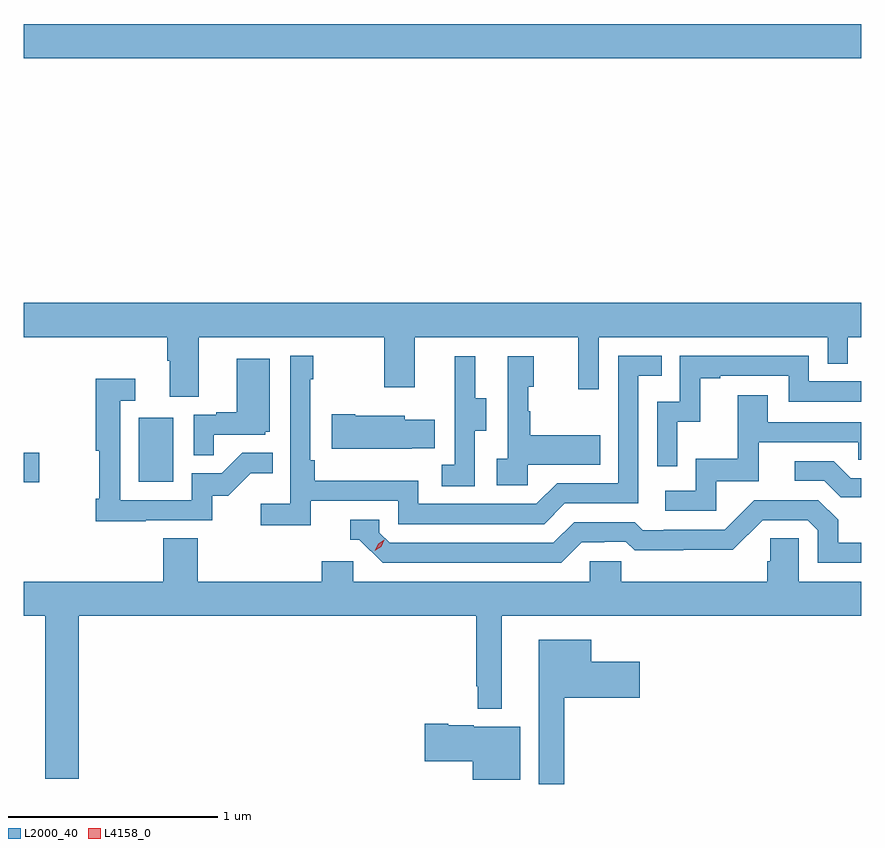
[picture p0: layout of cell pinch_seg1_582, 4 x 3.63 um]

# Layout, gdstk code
import gdstk
lib = gdstk.Library(unit=1e-6, precision=1e-09)
def R(c, l, rs):  # rectangles x0, y0, x1, y1
    for r in rs: c.add(gdstk.rectangle(r[:2], r[2:], *l))
def P(c, l, *ps):  # polygons
    for p in ps: c.add(gdstk.Polygon(p, *l))
L2000_40 = (2000, 40)
L4158_0 = (4158, 0)

pinch_seg1_582 = lib.new_cell('pinch_seg1_582')
R(pinch_seg1_582, L2000_40, [(1017.473,507.082,1017.547,507.224), (1018.022,507.084,1018.186,507.391), (1017.473,509.108,1021.473,509.272)])
P(pinch_seg1_582, L2000_40, [(1018.309,507.776),(1019.194,507.776),(1019.194,507.537),(1019.341,507.537),(1019.341,507.776),(1020.122,507.776),(1020.122,507.528),(1020.219,507.528),(1020.219,507.776),(1021.314,507.776),(1021.314,507.649),(1021.41,507.649),(1021.41,507.776),(1021.473,507.776),(1021.473,507.94),(1017.473,507.94),(1017.473,507.776),(1018.157,507.776),(1018.157,507.664),(1018.169,507.664),(1018.169,507.49),(1018.309,507.49)],
  [(1018.844,506.994),(1019.262,506.994),(1019.262,506.883),(1019.959,506.883),(1020.058,506.982),(1020.408,506.982),(1020.408,507.591),(1020.521,507.591),(1020.521,507.687),(1020.312,507.687),(1020.312,507.078),(1020.021,507.078),(1019.922,506.979),(1019.358,506.979),(1019.358,507.091),(1018.862,507.091),(1018.862,507.187),(1018.842,507.187),(1018.842,507.575),(1018.855,507.575),(1018.855,507.688),(1018.746,507.688),(1018.746,506.98),(1018.605,506.98),(1018.605,506.878),(1018.844,506.878)],
  [(1020.594,507.371),(1020.704,507.371),(1020.704,507.579),(1020.799,507.579),(1020.799,507.591),(1021.128,507.591),(1021.128,507.468),(1021.473,507.468),(1021.473,507.564),(1021.224,507.564),(1021.224,507.687),(1020.606,507.687),(1020.606,507.468),(1020.498,507.468),(1020.498,507.159),(1020.594,507.159)],
  [(1019.628,507.328),(1019.683,507.328),(1019.683,507.483),(1019.629,507.483),(1019.629,507.685),(1019.531,507.685),(1019.531,507.471),(1019.532,507.471),(1019.532,507.167),(1019.469,507.167),(1019.469,507.064),(1019.628,507.064)],
  [(1019.88,507.167),(1020.227,507.167),(1020.227,507.307),(1019.893,507.307),(1019.893,507.422),(1019.883,507.422),(1019.883,507.54),(1019.908,507.54),(1019.908,507.685),(1019.784,507.685),(1019.784,507.194),(1019.733,507.194),(1019.733,507.069),(1019.88,507.069)],
  [(1018.379,507.309),(1018.626,507.309),(1018.626,507.324),(1018.648,507.324),(1018.648,507.673),(1018.49,507.673),(1018.49,507.418),(1018.391,507.418),(1018.391,507.405),(1018.284,507.405),(1018.284,507.211),(1018.379,507.211)],
  [(1018.055,506.901),(1018.374,506.901),(1018.374,507.018),(1018.45,507.018),(1018.557,507.125),(1018.661,507.125),(1018.661,507.224),(1018.517,507.224),(1018.419,507.126),(1018.275,507.126),(1018.275,506.997),(1017.933,506.997),(1017.933,507.471),(1018.006,507.471),(1018.006,507.577),(1017.817,507.577),(1017.817,507.234),(1017.832,507.234),(1017.832,507.004),(1017.817,507.004),(1017.817,506.896),(1018.055,506.896)],
  [(1020.78,507.087),(1020.985,507.087),(1020.985,507.273),(1021.459,507.273),(1021.459,507.189),(1021.473,507.189),(1021.473,507.369),(1021.027,507.369),(1021.027,507.499),(1020.883,507.499),(1020.883,507.196),(1020.684,507.196),(1020.684,507.042),(1020.537,507.042),(1020.537,506.946),(1020.78,506.946)],
  [(1019.327,507.245),(1019.435,507.245),(1019.435,507.382),(1019.292,507.382),(1019.292,507.4),(1019.056,507.4),(1019.056,507.408),(1018.944,507.408),(1018.944,507.242),(1019.327,507.242)],
  [(1021.473,507.102),(1021.423,507.102),(1021.342,507.183),(1021.155,507.183),(1021.155,507.09),(1021.296,507.09),(1021.376,507.01),(1021.473,507.01)],
  [(1020.139,506.796),(1020.246,506.796),(1020.246,506.799),(1020.349,506.799),(1020.391,506.757),(1020.624,506.757),(1020.624,506.759),(1020.86,506.759),(1021.002,506.901),(1021.218,506.901),(1021.266,506.853),(1021.266,506.697),(1021.473,506.697),(1021.473,506.793),(1021.363,506.793),(1021.363,506.903),(1021.269,506.997),(1020.963,506.997),(1020.822,506.856),(1020.529,506.856),(1020.529,506.853),(1020.43,506.853),(1020.391,506.892),(1020.102,506.892),(1020.003,506.793),(1019.22,506.793),(1019.172,506.841),(1019.172,506.904),(1019.033,506.904),(1019.033,506.808),(1019.076,506.808),(1019.187,506.697),(1020.04,506.697)],
  [(1019.634,506.107),(1019.641,506.107),(1019.641,506),(1019.755,506),(1019.755,506.444),(1021.473,506.444),(1021.473,506.608),(1021.176,506.608),(1021.176,506.816),(1021.039,506.816),(1021.039,506.706),(1021.025,506.706),(1021.025,506.608),(1020.327,506.608),(1020.327,506.706),(1020.177,506.706),(1020.177,506.608),(1019.046,506.608),(1019.046,506.706),(1018.895,506.706),(1018.895,506.608),(1018.304,506.608),(1018.304,506.816),(1018.139,506.816),(1018.139,506.608),(1017.473,506.608),(1017.473,506.444),(1017.574,506.444),(1017.574,505.665),(1017.734,505.665),(1017.734,506.444),(1019.634,506.444)],
  [(1020.055,506.054),(1020.415,506.054),(1020.415,506.224),(1020.184,506.224),(1020.184,506.329),(1019.933,506.329),(1019.933,505.641),(1020.055,505.641)],
  [(1019.845,505.915),(1019.622,505.915),(1019.622,505.921),(1019.5,505.921),(1019.5,505.928),(1019.388,505.928),(1019.388,505.75),(1019.618,505.75),(1019.618,505.661),(1019.845,505.661)])
P(pinch_seg1_582, L4158_0, [(1019.149,506.755),(1019.149,506.755),(1019.165,506.788),(1019.195,506.808),(1019.195,506.808),(1019.195,506.807),(1019.18,506.775),(1019.149,506.755)])

lib.write_gds('pinch_seg1_582.gds')
